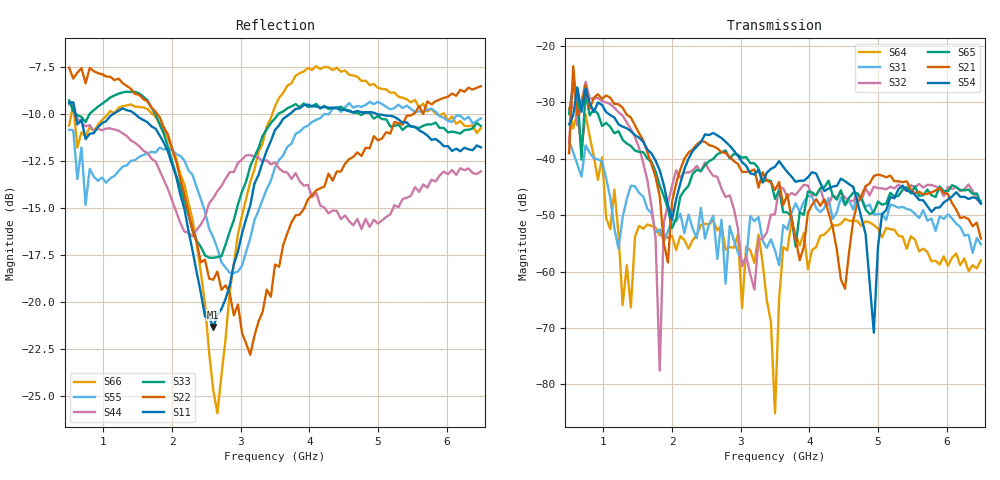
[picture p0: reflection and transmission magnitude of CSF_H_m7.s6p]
!Keysight Technologies,M9804A,MY58100912,A.14.10.03
!Date: Thursday, April 27, 2023 10:28:33
!Correction: S11(C  6-Port  )
!S12(C  6-Port  )
!S13(C  6-Port  )
!S14(C  6-Port  )
!S15(C  6-Port  )
!S16(C  6-Port  )
!S21(C  6-Port  )
!S22(C  6-Port  )
!S23(C  6-Port  )
!S24(C  6-Port  )
!S25(C  6-Port  )
!S26(C  6-Port  )
!S31(C  6-Port  )
!S32(C  6-Port  )
!S33(C  6-Port  )
!S34(C  6-Port  )
!S35(C  6-Port  )
!S36(C  6-Port  )
!S41(C  6-Port  )
!S42(C  6-Port  )
!S43(C  6-Port  )
!S44(C  6-Port  )
!S45(C  6-Port  )
!S46(C  6-Port  )
!S51(C  6-Port  )
!S52(C  6-Port  )
!S53(C  6-Port  )
!S54(C  6-Port  )
!S55(C  6-Port  )
!S56(C  6-Port  )
!S61(C  6-Port  )
!S62(C  6-Port  )
!S63(C  6-Port  )
!S64(C  6-Port  )
!S65(C  6-Port  )
!S66(C  6-Port  )
!S6P File: Measurement: :
# Hz S  RI  R 50
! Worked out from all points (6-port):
!   101 points, 500 MHz to 6.5 GHz, reference 50 ohm
!   strongest paths, dB at 500 MHz, 2 GHz, 3.5 GHz, 5 GHz, 6.5 GHz:
!     S54: -33.9, -50.7, -41.4, -55.7, -48.0
!     S21: -39.0, -47.6, -45.5, -42.8, -54.1
!     S65: -32.1, -52.3, -47.1, -47.6, -47.9
!     S32: -37.4, -44.8, -49.8, -45.2, -47.4
!     S31: -37.0, -50.8, -56.2, -49.8, -55.2
!     S64: -31.0, -53.7, -85.1, -52.3, -58.0
!   lowest |S11| = -21.3 dB at 2.6 GHz (marker M1), VSWR 1.19, Z = 42.4 + j2.29 ohm
!   |S11| at or under -10 dB: 592.4 MHz to 1.136 GHz (544.1 MHz wide, 62.9 % of centre); 1.465 GHz to 3.71 GHz (2.245 GHz wide, 86.7 % of centre); 4.994 GHz to end of sweep
